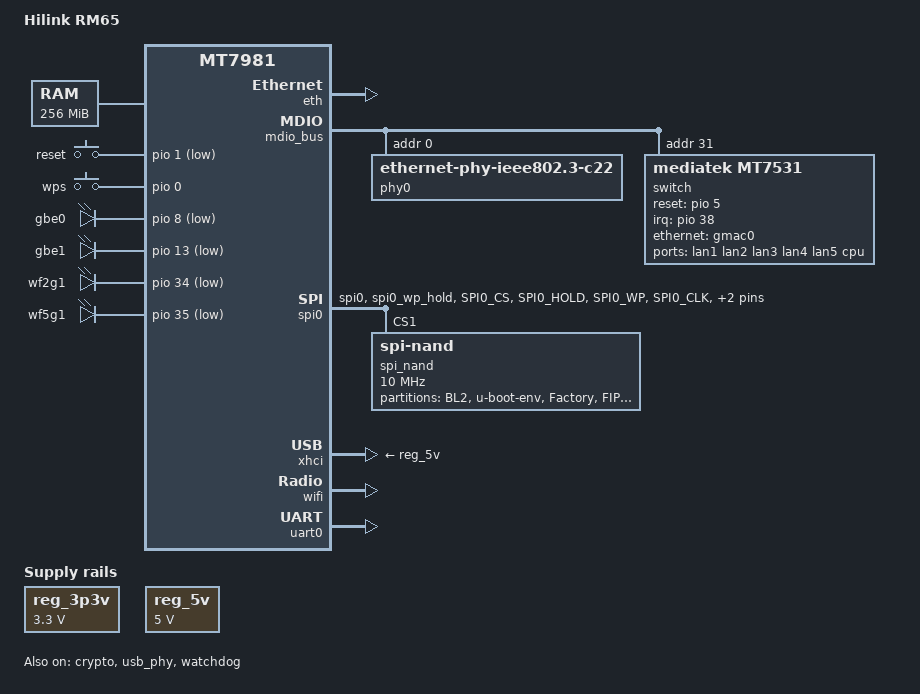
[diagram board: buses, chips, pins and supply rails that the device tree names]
// SPDX-License-Identifier: (GPL-2.0 OR MIT)
/*
 * Copyright (C) 2022 MediaTek Inc.
 * Author: Sam.Shih <sam.shih@mediatek.com>
 */

/dts-v1/;
#include "mt7981b-rm65.dtsi"

/ {
	model = "Hilink RM65";
	compatible = "mediatek,mt7981-rfb", "mediatek,mt7981";

	aliases {
		serial0 = &uart0;
	};

	chosen {
		stdout-path = "serial0:115200n8";
	};

	memory {    /* 256MB ram = 0x10000000 */
		reg = <0 0x40000000 0 0x10000000>;
	};

	reg_3p3v: regulator-3p3v {
		compatible = "regulator-fixed";
		regulator-name = "fixed-3.3V";
		regulator-min-microvolt = <3300000>;
		regulator-max-microvolt = <3300000>;
		regulator-boot-on;
		regulator-always-on;
	};

	reg_5v: regulator-5v {
		compatible = "regulator-fixed";
		regulator-name = "fixed-5V";
		regulator-min-microvolt = <5000000>;
		regulator-max-microvolt = <5000000>;
		regulator-boot-on;
		regulator-always-on;
	};

	gpio-keys {
		compatible = "gpio-keys";
		reset {
			label = "reset";
			linux,code = <KEY_RESTART>;
			gpios = <&pio 1 GPIO_ACTIVE_LOW>;
		};
		wps {
			label = "wps";
			linux,code = <KEY_WPS_BUTTON>;
			gpios = <&pio 0 GPIO_ACTIVE_HIGH>;
		};
	};
	
	leds {
		compatible = "gpio-leds";
			gbe_led0 {
				label = "gbe0";
				gpios = <&pio 8 GPIO_ACTIVE_LOW>;
			};

			gbe_led1 {
				label = "gbe1";
				gpios = <&pio 13 GPIO_ACTIVE_LOW>;
			};
			
			wf2g_led {
				label = "wf2g1";
				gpios = <&pio 34 GPIO_ACTIVE_LOW>;
			};
			
			wf5g_led {
				label = "wf5g1";
				gpios = <&pio 35 GPIO_ACTIVE_LOW>;
			};
	};
};

&eth {
        status = "okay";
 
 	gmac0: mac@0 {
		compatible = "mediatek,eth-mac";
		reg = <0>;
		phy-mode = "2500base-x";

		fixed-link {
			speed = <2500>;
			full-duplex;
			pause;
		};
	};

	gmac1: mac@1 {
		compatible = "mediatek,eth-mac";
		reg = <1>;
		phy-mode = "gmii";
		phy-handle = <&phy0>;
	};
};

&mdio_bus {

	phy0: ethernet-phy@0 {
		compatible = "ethernet-phy-ieee802.3-c22";
		reg = <0>;
		phy-mode = "gmii";
		phy-is-integrated;
		nvmem-cells = <&phy_calibration>;
		nvmem-cell-names = "phy-cal-data";
	};

	switch: switch@1f {
		compatible = "mediatek,mt7531";
		reg = <31>;
		interrupt-controller;
		#interrupt-cells = <1>;
		interrupt-parent = <&pio>;
		interrupts = <38 IRQ_TYPE_LEVEL_HIGH>;
		reset-gpios = <&pio 5 GPIO_ACTIVE_HIGH>;
	};
};

&switch {
	ports {
		#address-cells = <1>;
		#size-cells = <0>;

		port@0 {
			reg = <0>;
			label = "lan1";
		};

		port@1 {
			reg = <1>;
			label = "lan2";
		};

		port@2 {
			reg = <2>;
			label = "lan3";
		};

		port@3 {
			reg = <3>;
			label = "lan4";
		};

		port@4 {
			reg = <4>;
			label = "lan5";
		};

/*		sw_p5: port@5 {      in mt7981-rfb.dts
			reg = <5>;
			label = "lan5";
			status = "disabled";
		};
*/
		port@6 {
			reg = <6>;
			label = "cpu";
			ethernet = <&gmac0>;
			phy-mode = "2500base-x";

			fixed-link {
				speed = <2500>;
				full-duplex;
				pause;
			};
		};
	};
};

&crypto {
	status = "okay";
};

&pio {
	spi0_flash_pins: spi0-pins {
		mux {
			function = "spi";
			groups = "spi0", "spi0_wp_hold";
		};
		conf-pu {
			pins = "SPI0_CS", "SPI0_HOLD", "SPI0_WP";
			drive-strength = <MTK_DRIVE_8mA>;
			bias-pull-up = <MTK_PUPD_SET_R1R0_11>;
		};
		conf-pd {
			pins = "SPI0_CLK", "SPI0_MOSI", "SPI0_MISO";
			drive-strength = <MTK_DRIVE_8mA>;
			bias-pull-down = <MTK_PUPD_SET_R1R0_11>;
		};
	};

};

&spi0 {
	pinctrl-names = "default";
	pinctrl-0 = <&spi0_flash_pins>;
	cs-gpios = <0>, <0>;		/* weet niet of deze regel nodig is */
	#address-cells = <1>;
	#size-cells = <0>;
	status = "okay";
	
	spi_nand: spi_nand@0 {
		#address-cells = <1>;
	/*	compatible = "ethernet-phy-id03a2.9461";	*/
	/*	compatible = "ethernet-phy-id67c9.de0a";	*/
	/* 1gb	compatible = "ethernet-phy-ieee802.3-c22";	*/
	/* 2.5gb compatible = "ethernet-phy-ieee802.3-c45";	*/

		#size-cells = <1>;
		compatible = "spi-nand";
		reg = <1>;
		spi-max-frequency = <10000000>;
		spi-tx-bus-width = <4>;
		spi-rx-bus-width = <4>;

		partitions {
			compatible = "fixed-partitions";
			#address-cells = <1>;
			#size-cells = <1>;

			partition@0 {
				label = "BL2";
				reg = <0x00000 0x0100000>;
				read-only;
			};

			partition@100000 {
				label = "u-boot-env";
				reg = <0x0100000 0x0080000>;
			};

			factory: partition@180000 {
				label = "Factory";
				reg = <0x180000 0x0200000>;
			};

			partition@380000 {
				label = "FIP";
				reg = <0x380000 0x0200000>;
			};

			partition@580000 {
				label = "ubi";
				reg = <0x580000 0x4000000>;
			};
		};
	};
};

&xhci {
	vusb33-supply = <&reg_3p3v>;
	vbus-supply = <&reg_5v>;
	status = "okay";
};

&wifi {
	status = "okay";

	mediatek,mtd-eeprom = <&factory 0x0>;
};

&uart0 {
	status = "okay";
};

&usb_phy {
	status = "okay";
};

&watchdog {type or paste code here
	status = "okay";
};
